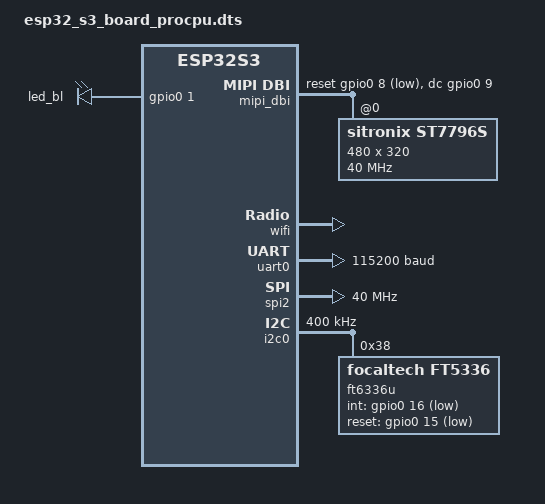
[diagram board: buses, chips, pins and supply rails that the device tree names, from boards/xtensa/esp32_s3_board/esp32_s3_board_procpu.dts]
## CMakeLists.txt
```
# SPDX-License-Identifier: Apache-2.0

cmake_minimum_required(VERSION 3.28.0)
set(BOARD_ROOT ${CMAKE_CURRENT_SOURCE_DIR})
find_package(Zephyr REQUIRED HINTS $ENV{ZEPHYR_BASE})
project(06_TFT_Screen)

target_sources(app PRIVATE src/main.c)
```

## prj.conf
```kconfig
# Display
CONFIG_DISPLAY=y
CONFIG_LOG=y

# Touch (FT6336U via focaltech,ft5336 driver)
CONFIG_INPUT=y
CONFIG_INPUT_FT5336_INTERRUPT=y

CONFIG_MAIN_STACK_SIZE=8192
CONFIG_HEAP_MEM_POOL_SIZE=16384

# Networking
CONFIG_NETWORKING=y
CONFIG_NET_IPV4=y
CONFIG_NET_IPV6=n
CONFIG_NET_TCP=y
CONFIG_NET_SOCKETS=y
CONFIG_POSIX_API=y
CONFIG_DNS_RESOLVER=y
CONFIG_DNS_SERVER_IP_ADDRESSES=y
CONFIG_DNS_SERVER1="223.5.5.5"
CONFIG_NET_DHCPV4=y
CONFIG_NET_BUF_RX_COUNT=20
CONFIG_NET_BUF_TX_COUNT=20
CONFIG_NET_MAX_CONTEXTS=8

# Wi-Fi
CONFIG_WIFI=y
CONFIG_WIFI_ESP32=y
CONFIG_WIFI_CREDENTIALS=y
CONFIG_WIFI_CREDENTIALS_STATIC=y
CONFIG_WIFI_CREDENTIALS_STATIC_SSID="YOUR_WIFI_SSID"
CONFIG_WIFI_CREDENTIALS_STATIC_PASSWORD="YOUR_WIFI_PASSWORD"
CONFIG_WIFI_CREDENTIALS_STATIC_TYPE_PSK=y
CONFIG_WIFI_CREDENTIALS_CONNECT_STORED=y
CONFIG_WIFI_STA_AUTO_DHCPV4=y
```

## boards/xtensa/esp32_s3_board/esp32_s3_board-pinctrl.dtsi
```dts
#include <zephyr/dt-bindings/pinctrl/esp32s3-pinctrl.h>

&pinctrl {
    uart0_default: uart0_default {
        group1 {
            pinmux = <UART0_TX_GPIO43>;
            output-high;
        };
        group2 {
            pinmux = <UART0_RX_GPIO44>;
            bias-pull-up;
        };
    };

    spim2_default: spim2_default {
        group1 {
            pinmux = <SPIM2_SCLK_GPIO12>, <SPIM2_CSEL_GPIO10>;
        };
        group2 {
            pinmux = <SPIM2_MOSI_GPIO11>;
            output-low;
        };
    };

    i2c0_default: i2c0_default {
        group1 {
            pinmux = <I2C0_SCL_GPIO13>;
            bias-pull-up;
        };
        group2 {
            pinmux = <I2C0_SDA_GPIO14>;
            bias-pull-up;
        };
    };
};
```

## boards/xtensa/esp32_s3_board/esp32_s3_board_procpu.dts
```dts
/dts-v1/;

#include <espressif/esp32s3/esp32s3_wroom_n8r8.dtsi>
#include <espressif/partitions_0x0_amp.dtsi>
#include "esp32_s3_board-pinctrl.dtsi"
#include <zephyr/dt-bindings/mipi_dbi/mipi_dbi.h>

/ {
    aliases {
        bl-led = &led_bl;          /* 已有 aliases 的话就追加这行 */
    };

    leds {
        compatible = "gpio-leds";
        led_bl: led_bl {
            gpios = <&gpio0 1 GPIO_ACTIVE_HIGH>;
        };
    };

    chosen {
        zephyr,sram = &sram1;
        zephyr,flash = &flash0;
        zephyr,console = &uart0;
        zephyr,shell-uart = &uart0;
        zephyr,display = &st7796s;
    };

    mipi_dbi {
        compatible = "zephyr,mipi-dbi-spi";
        spi-dev = <&spi2>;
        dc-gpios = <&gpio0 9 GPIO_ACTIVE_HIGH>;
        reset-gpios = <&gpio0 8 GPIO_ACTIVE_LOW>;
        #address-cells = <1>;
        #size-cells = <0>;
        write-only;
        status = "okay";

        st7796s: st7796s@0 {
            compatible = "sitronix,st7796s";
            reg = <0>;
            mipi-max-frequency = <40000000>;
            mipi-mode = "MIPI_DBI_MODE_SPI_4WIRE";
            width = <480>;
            height = <320>;
            madctl = <0x68>; /* MV|MX|BGR: 480x320 landscape */
            pgc = [F0 00 03 08 0B 08 11 08 45 26 94 97 45 45];
            ngc = [F0 00 02 06 09 07 0D 08 45 26 94 97 45 45];
        };
    };
};

&gpio0 { status = "okay"; };

&wifi {
    status = "okay";
};

&uart0 {
    status = "okay";
    current-speed = <115200>;
    pinctrl-0 = <&uart0_default>;
    pinctrl-names = "default";
};

&spi2 {
    #address-cells = <1>;
    #size-cells = <0>;
    cs-gpios = <&gpio0 10 GPIO_ACTIVE_LOW>;
    clock-frequency = <40000000>;
    pinctrl-0 = <&spim2_default>;
    pinctrl-names = "default";
    status = "okay";
};

&i2c0 {
    #address-cells = <1>;
    #size-cells = <0>;
    clock-frequency = <400000>;
    pinctrl-0 = <&i2c0_default>;
    pinctrl-names = "default";
    status = "okay";

    ft6336u: focaltech,ft5336@38 {
        compatible = "focaltech,ft5336";
        reg = <0x38>;
        int-gpios = <&gpio0 16 (GPIO_ACTIVE_LOW | GPIO_PULL_UP)>;
        reset-gpios = <&gpio0 15 GPIO_ACTIVE_LOW>;
        screen-width = <480>;
        screen-height = <320>;
        status = "okay";
    };
};
```

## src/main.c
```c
#include <zephyr/kernel.h>
#include <zephyr/device.h>
#include <zephyr/drivers/display.h>
#include <zephyr/drivers/gpio.h>
#include <zephyr/sys/printk.h>
#include <zephyr/sys/atomic.h>
#include <zephyr/input/input.h>
#include <zephyr/net/net_if.h>
#include <zephyr/net/net_mgmt.h>
#include <zephyr/net/wifi_mgmt.h>

#include <zephyr/posix/netinet/in.h>
#include <zephyr/posix/sys/socket.h>
#include <zephyr/posix/sys/time.h>
#include <zephyr/posix/netdb.h>
#include <zephyr/posix/unistd.h>

#include <string.h>
#include <stdlib.h>

#define WIDTH  480
#define HEIGHT 320

/* 分屏带渲染：每次只渲染 BAND_H 行，避免 480x320 整帧缓冲（300KB）超内存 */
#define BAND_H     80
#define NUM_BANDS  (HEIGHT / BAND_H)

#define HTTP_HOST "api.open-meteo.com"
#define HTTP_PORT "80"
#define HTTP_PATH "/v1/forecast?latitude=31.4928&longitude=120.2622&current=temperature_2m,relative_humidity_2m"
#define FETCH_PERIOD_MS  60000
#define WIFI_RETRY_MS    3000

static const struct gpio_dt_spec bl = GPIO_DT_SPEC_GET(DT_ALIAS(bl_led), gpios);
static const struct device *display = DEVICE_DT_GET(DT_CHOSEN(zephyr_display));
static uint16_t fb[WIDTH * BAND_H];
static int band_y0;

static atomic_t touch_x = ATOMIC_INIT(-1);
static atomic_t touch_y = ATOMIC_INIT(-1);
static atomic_t touch_pressed = ATOMIC_INIT(0);

static int last_tx = -2;
static int last_ty = -2;
static bool last_tp;

/* font5x7: 64 glyphs, index = ch - ' ' */
static const uint8_t font[][5] = {
    {0x00,0x00,0x00,0x00,0x00}, /*  */
    {0x00,0x00,0x5f,0x00,0x00}, /* ! */
    {0x00,0x07,0x00,0x07,0x00}, /* " */
    {0x14,0x7f,0x14,0x7f,0x14}, /* # */
    {0x24,0x2a,0x7f,0x2a,0x12}, /* $ */
    {0x23,0x13,0x08,0x64,0x62}, /* % */
    {0x36,0x49,0x55,0x22,0x50}, /* & */
    {0x00,0x05,0x03,0x00,0x00}, /* ' */
    {0x00,0x1c,0x22,0x41,0x00}, /* ( */
    {0x00,0x41,0x22,0x1c,0x00}, /* ) */
    {0x14,0x08,0x3e,0x08,0x14}, /* * */
    {0x08,0x08,0x3e,0x08,0x08}, /* + */
    {0x00,0x50,0x30,0x00,0x00}, /* , */
    {0x08,0x08,0x08,0x08,0x08}, /* - */
    {0x00,0x60,0x60,0x00,0x00}, /* . */
    {0x20,0x10,0x08,0x04,0x02}, /* / */
    {0x3e,0x51,0x49,0x45,0x3e}, /* 0 */
    {0x00,0x42,0x7f,0x40,0x00}, /* 1 */
    {0x42,0x61,0x51,0x49,0x46}, /* 2 */
    {0x21,0x41,0x45,0x4b,0x31}, /* 3 */
    {0x18,0x14,0x12,0x7f,0x10}, /* 4 */
    {0x27,0x45,0x45,0x45,0x39}, /* 5 */
    {0x3c,0x4a,0x49,0x49,0x30}, /* 6 */
    {0x01,0x71,0x09,0x05,0x03}, /* 7 */
    {0x36,0x49,0x49,0x49,0x36}, /* 8 */
    {0x06,0x49,0x49,0x29,0x1e}, /* 9 */
    {0x00,0x36,0x36,0x00,0x00}, /* : */
    {0x00,0x56,0x36,0x00,0x00}, /* ; */
    {0x08,0x14,0x22,0x41,0x00}, /* < */
    {0x14,0x14,0x14,0x14,0x14}, /* = */
    {0x00,0x41,0x22,0x14,0x08}, /* > */
    {0x02,0x01,0x51,0x09,0x06}, /* ? */
    {0x32,0x49,0x79,0x41,0x3e}, /* @ */
    {0x7e,0x11,0x11,0x11,0x7e}, /* A */
    {0x7f,0x49,0x49,0x49,0x36}, /* B */
    {0x3e,0x41,0x41,0x41,0x22}, /* C */
    {0x7f,0x41,0x41,0x22,0x1c}, /* D */
    {0x7f,0x49,0x49,0x49,0x41}, /* E */
    {0x7f,0x09,0x09,0x09,0x01}, /* F */
    {0x3e,0x41,0x49,0x49,0x7a}, /* G */
    {0x7f,0x08,0x08,0x08,0x7f}, /* H */
    {0x00,0x41,0x7f,0x41,0x00}, /* I */
    {0x20,0x40,0x41,0x3f,0x01}, /* J */
    {0x7f,0x08,0x14,0x22,0x41}, /* K */
    {0x7f,0x40,0x40,0x40,0x40}, /* L */
    {0x7f,0x02,0x0c,0x02,0x7f}, /* M */
    {0x7f,0x04,0x08,0x10,0x7f}, /* N */
    {0x3e,0x41,0x41,0x41,0x3e}, /* O */
    {0x7f,0x09,0x09,0x09,0x06}, /* P */
    {0x3e,0x41,0x51,0x21,0x5e}, /* Q */
    {0x7f,0x09,0x19,0x29,0x46}, /* R */
    {0x46,0x49,0x49,0x49,0x31}, /* S */
    {0x01,0x01,0x7f,0x01,0x01}, /* T */
    {0x3f,0x40,0x40,0x40,0x3f}, /* U */
    {0x1f,0x20,0x40,0x20,0x1f}, /* V */
    {0x3f,0x40,0x38,0x40,0x3f}, /* W */
    {0x63,0x14,0x08,0x14,0x63}, /* X */
    {0x07,0x08,0x70,0x08,0x07}, /* Y */
    {0x61,0x51,0x49,0x45,0x43}, /* Z */
    {0x00,0x7f,0x41,0x41,0x00}, /* [ */
    {0x02,0x04,0x08,0x10,0x20}, /* \ */
    {0x00,0x41,0x41,0x7f,0x00}, /* ] */
    {0x04,0x02,0x01,0x02,0x04}, /* ^ */
    {0x40,0x40,0x40,0x40,0x40}, /* _ */
};

static void px(int x, int y, uint16_t c)
{
    if (x >= 0 && x < WIDTH && y >= band_y0 && y < band_y0 + BAND_H) {
        fb[(y - band_y0) * WIDTH + x] = c;
    }
}

static void rect_fill(int x, int y, int w, int h, uint16_t c)
{
    for (int j = y; j < y + h; j++) {
        for (int i = x; i < x + w; i++) {
            px(i, j, c);
        }
    }
}

static void disc(int cx, int cy, int r, uint16_t c)
{
    for (int j = cy - r; j <= cy + r; j++) {
        for (int i = cx - r; i <= cx + r; i++) {
            if ((i - cx) * (i - cx) + (j - cy) * (j - cy) <= r * r) {
                px(i, j, c);
            }
        }
    }
}

static void draw_char(int x, int y, char ch, uint16_t c)
{
    int idx = ch - ' ';
    if (idx < 0 || idx >= (int)ARRAY_SIZE(font)) {
        return;
    }
    for (int i = 0; i < 5; i++) {
        uint8_t bits = font[idx][i];
        for (int j = 0; j < 7; j++) {
            if (bits & (0x01 << j)) {
                px(x + i, y + j, c);
            }
        }
    }
}

static void draw_text(int x, int y, const char *s, uint16_t c)
{
    for (; *s; s++) {
        draw_char(x, y, *s, c);
        x += 6;
    }
}

static void draw_char_big(int x, int y, char ch, int scale, uint16_t c)
{
    int idx = ch - ' ';
    if (idx < 0 || idx >= (int)ARRAY_SIZE(font)) {
        return;
    }
    for (int i = 0; i < 5; i++) {
        uint8_t bits = font[idx][i];
        for (int j = 0; j < 7; j++) {
            if (bits & (0x01 << j)) {
                rect_fill(x + i * scale, y + j * scale, scale, scale, c);
            }
        }
    }
}

static void draw_text_big(int x, int y, const char *s, int scale, uint16_t c)
{
    for (; *s; s++) {
        draw_char_big(x, y, *s, scale, c);
        x += 6 * scale;
    }
}

/* 沿矩形边框顺时针走 d/360（0..360 对应 0..100%） */
static void ring_walk(int d, int x0, int y0, int top, int side, uint16_t c)
{
    if (d <= 0) {
        return;
    }
    if (d < top) {
        rect_fill(x0, y0, d, 2, c);
    } else if (d < top + side) {
        rect_fill(x0, y0, top, 2, c);
        rect_fill(x0 + top - 2, y0, 2, d - top + 2, c);
    } else if (d < 2 * top + side) {
        rect_fill(x0, y0, top, 2, c);
        rect_fill(x0 + top - 2, y0, 2, side, c);
        rect_fill(x0, y0 + side - 2, d - top - side + 2, 2, c);
    } else {
        int rest = d - (2 * top + side);
        rect_fill(x0, y0, top, 2, c);
        rect_fill(x0 + top - 2, y0, 2, side, c);
        rect_fill(x0, y0 + side - 2, top, 2, c);
        rect_fill(x0, y0 + side - 2 - rest, 2, rest + 2, c);
    }
}

static void flush_fb(void)
{
    static const struct display_buffer_descriptor desc = {
        .buf_size = sizeof(fb),
        .width = WIDTH,
        .height = BAND_H,
        .pitch = WIDTH,
    };
    display_write(display, 0, band_y0, &desc, fb);
}

static bool get_number(const char *buf, const char *key, double *out)
{
    char needle[24];
    char *p;
    char *end;

    snprintk(needle, sizeof(needle), "\"%s\":", key);
    p = strstr(buf, needle);
    if (p == NULL) {
        return false;
    }
    p += strlen(needle);
    *out = strtod(p, &end);
    return end != p;
}

static bool http_get_weather(double *temp, double *hum)
{
    struct addrinfo hints = { 0 };
    struct addrinfo *res = NULL;
    struct timeval tv = { .tv_sec = 5, .tv_usec = 0 };
    static char buf[4096];
    char req[512];
    int sock = -1;
    int slen = 0;
    bool ret = false;

    hints.ai_family = AF_INET;
    hints.ai_socktype = SOCK_STREAM;

    if (getaddrinfo(HTTP_HOST, HTTP_PORT, &hints, &res) != 0) {
        return false;
    }

    sock = socket(res->ai_family, res->ai_socktype, res->ai_protocol);
    if (sock < 0) {
        freeaddrinfo(res);
        return false;
    }

    setsockopt(sock, SOL_SOCKET, SO_RCVTIMEO, &tv, sizeof(tv));
    if (connect(sock, res->ai_addr, res->ai_addrlen) < 0) {
        goto out;
    }

    snprintk(req, sizeof(req),
             "GET " HTTP_PATH " HTTP/1.1\r\n"
             "Host: " HTTP_HOST "\r\n"
             "User-Agent: zephyr-weather\r\n"
             "Connection: close\r\n\r\n");
    if (send(sock, req, strlen(req), 0) < 0) {
        goto out;
    }

    memset(buf, 0, sizeof(buf));
    while (slen < (int)sizeof(buf) - 1) {
        int r = recv(sock, buf + slen, sizeof(buf) - 1 - slen, 0);
        if (r <= 0) {
            break;
        }
        slen += r;
    }
    if (slen == 0) {
        goto out;
    }

    if (get_number(buf, "temperature_2m", temp) &&
        get_number(buf, "relative_humidity_2m", hum)) {
        ret = true;
    }

out:
    close(sock);
    freeaddrinfo(res);
    return ret;
}

static void draw_touch_overlay(void)
{
    int x = (int)atomic_get(&touch_x);
    int y = (int)atomic_get(&touch_y);
    bool pressed = (bool)atomic_get(&touch_pressed);

    if (x < 0 || y < 0 || x >= WIDTH || y >= HEIGHT) {
        return;
    }

    disc(x, y, pressed ? 5 : 3, pressed ? 0x07ff : 0x2d6b);
    rect_fill(x - 16, y - 1, 32, 2, 0xffff);
    rect_fill(x - 1, y - 16, 2, 32, 0xffff);
}

static void draw_frame(double temp, double hum, bool got, int countdown)
{
    char buf[32];
    char num[16];
    int rh;
    int tmp;
    int tp;

    memset(fb, 0, sizeof(fb));

    draw_text_big(10, 8, "WUXI BINHU", 2, 0xffff);
    draw_text(20, 30, "OPEN-METEO API", 0x4a49);

    if (got) {
        tmp = (int)temp;
        tp = (int)((temp - (double)tmp) * 10.0);
        if (tp < 0) {
            tp = -tp;
        }
        snprintk(num, sizeof(num), "%d.%d", tmp, tp);

        draw_text_big(10, 64, "TEMP", 2, 0xffe0);
        draw_text_big(10, 96, num, 6, 0xffff);
        disc(10 + 6 * 6 * (int)strlen(num) + 18, 117, 15, 0xffff);
        draw_text(10 + 6 * 6 * (int)strlen(num) + 38, 114, "DEG C", 0xffe0);

        rh = (int)hum;
        if (rh < 0) {
            rh = 0;
        }
        if (rh > 100) {
            rh = 100;
        }
        snprintk(buf, sizeof(buf), "%d%%", rh);
        draw_text_big(290, 64, "HUM", 2, 0x07e0);
        draw_text_big(290, 96, buf, 6, 0x07e0);

        /* 湿度进度条 20..460 */
        rect_fill(20, 180, 440, 20, 0x0842);
        rect_fill(20, 180, ((rh * 440) / 100), 20, 0x06ff);
        rect_fill(20, 180, 440, 1, 0xffff);
        rect_fill(20, 180, 1, 20, 0xffff);
        rect_fill(459, 180, 1, 20, 0xffff);
        rect_fill(20, 199, 440, 1, 0xffff);

        snprintk(buf, sizeof(buf), "DATA OK  %.1f C / %d RH", temp, rh);
        draw_text(20, 248, buf, 0x07e0);
    } else {
        draw_text_big(20, 90, "WAITING", 3, 0xffe0);
        draw_text_big(20, 124, "NETWORK...", 3, 0xffe0);
    }

    if (countdown >= 0) {
        snprintk(buf, sizeof(buf), "NEXT  %3ds", countdown);
        draw_text(20, 222, buf, 0x4a49);
        ring_walk((int)(((uint64_t)countdown * 360) / (FETCH_PERIOD_MS / 1000)),
                  8, 240, 464, 24, 0x07e0);
    }

    /* 触摸回显 */
    snprintk(buf, sizeof(buf), "TOUCH (%d,%d) %s",
             (int)atomic_get(&touch_x), (int)atomic_get(&touch_y),
             atomic_get(&touch_pressed) ? "DOWN" : "UP");
    draw_text(8, 268, buf, 0x4a49);
    draw_touch_overlay();

    flush_fb();
}

static bool ipv4_ready(struct net_if *iface)
{
    return iface != NULL && net_if_is_up(iface) &&
           net_if_ipv4_get_global_addr(iface, 0) != NULL;
}

static void touch_evt_cb(struct input_event *evt, void *user_data)
{
    switch (evt->code) {
    case INPUT_ABS_X:
        atomic_set(&touch_x, evt->value);
        break;
    case INPUT_ABS_Y:
        atomic_set(&touch_y, evt->value);
        break;
    case INPUT_BTN_TOUCH:
        atomic_set(&touch_pressed, evt->value);
        break;
    default:
        break;
    }
}

INPUT_CALLBACK_DEFINE(DEVICE_DT_GET(DT_NODELABEL(ft6336u)), touch_evt_cb, NULL);

static void draw_frame_all(double temp, double hum, bool got, int countdown)
{
    for (int band = 0; band < NUM_BANDS; band++) {
        band_y0 = band * BAND_H;
        draw_frame(temp, hum, got, countdown);
        flush_fb();
    }
    band_y0 = 0;
}

/* 触摸变化检测（用于快速重绘触摸区域） */
static bool touch_changed(void)
{
    int x = (int)atomic_get(&touch_x);
    int y = (int)atomic_get(&touch_y);
    bool p = (bool)atomic_get(&touch_pressed);

    if (x != last_tx || y != last_ty || p != last_tp) {
        last_tx = x;
        last_ty = y;
        last_tp = p;
        return true;
    }
    return false;
}

/* 只重绘触摸十字所在条带 + 状态条带（band 3），用于高频刷新 */
static void draw_touch_bands(double temp, double hum, bool got, int countdown)
{
    int by = (int)atomic_get(&touch_y);
    int tband = (by >= 0 && by < HEIGHT) ? (by / BAND_H) : -1;

    for (int band = 0; band < NUM_BANDS; band++) {
        if (band == 3 || band == tband) {
            band_y0 = band * BAND_H;
            draw_frame(temp, hum, got, countdown);
            flush_fb();
        }
    }
    band_y0 = 0;
}

int main(void)
{
    double temp = 0.0;
    double hum = 0.0;
    bool got = false;
    int64_t fetch_next = k_uptime_get();
    int64_t last_wifi_req = -WIFI_RETRY_MS;
    int64_t last_full = k_uptime_get();

    gpio_pin_configure_dt(&bl, GPIO_OUTPUT_ACTIVE);
    gpio_pin_set_dt(&bl, 1);
    display_blanking_off(display);

    draw_frame_all(temp, hum, false, -1);

    while (1) {
        int64_t now = k_uptime_get();
        struct net_if *iface = net_if_get_wifi_sta();

        if (!ipv4_ready(iface)) {
            if (iface != NULL && now - last_wifi_req >= WIFI_RETRY_MS) {
                net_mgmt(NET_REQUEST_WIFI_CONNECT_STORED, iface, NULL, 0);
                last_wifi_req = now;
            }
            draw_frame_all(temp, hum, false, -1);
            k_msleep(200);
            continue;
        }

        if (now >= fetch_next) {
            got = http_get_weather(&temp, &hum);
            if (got) {
                printk("Weather OK: %.1f C, %d %%RH\n", temp, (int)hum);
            } else {
                printk("Weather fetch FAILED\n");
            }
            fetch_next = now + FETCH_PERIOD_MS;
            draw_frame_all(temp, hum, got, (int)((fetch_next - now) / 1000));
            k_msleep(30);
        } else if (now - last_full >= 1000) {
            last_full = now;
            draw_frame_all(temp, hum, got, (int)((fetch_next - now) / 1000));
            k_msleep(30);
        }

        /* 触摸移动时高频重绘触摸条带（其余条带不动，整屏仍 1Hz） */
        if (touch_changed()) {
            draw_touch_bands(temp, hum, got, (int)((fetch_next - now) / 1000));
        }
        k_msleep(30);
    }
}
```
